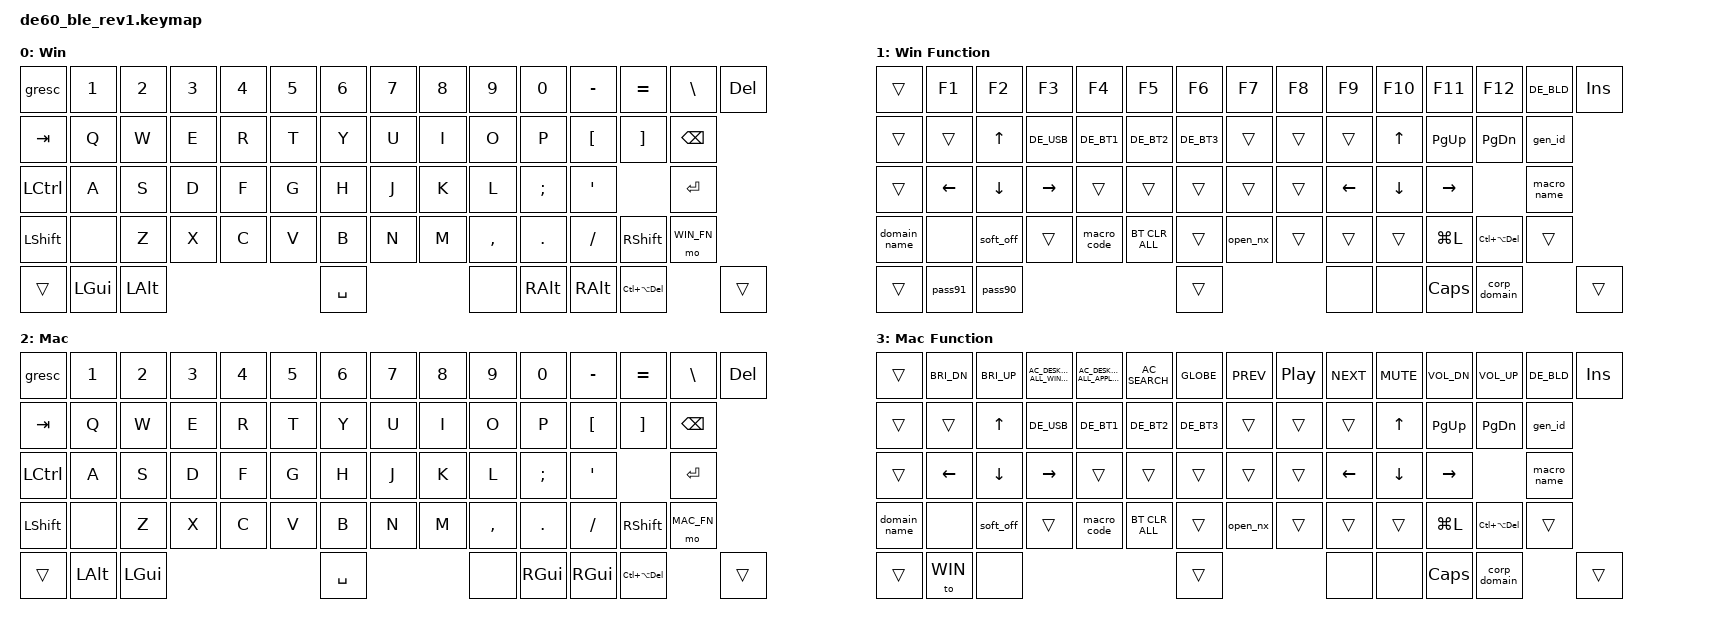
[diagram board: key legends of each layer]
/*
 * Copyright (c) 2026 DEKB
 * SPDX-License-Identifier: MIT
 */

#include "../common.keymap"

#define WIN 0
#define WIN_FN 1
#define MAC 2
#define MAC_FN 3

#define UF_RESET &DE_BLD
#define Device_USB &DE_USB
#define UF_BT1 &DE_BT1
#define UF_BT2 &DE_BT2
#define UF_BT3 &DE_BT3

/ {
    macros {
        domain_name: domain_name {
            compatible = "zmk,behavior-macro";
            #binding-cells = <0>;
            wait-ms = <10>;
            tap-ms = <10>;
            bindings = <&macro_tap &kp K &kp Y &kp N9 &kp N1 &kp DOT &kp H &kp A &kp I>;
        };

        gen_id: gen_id {
            compatible = "zmk,behavior-macro";
            #binding-cells = <0>;
            wait-ms = <10>;
            tap-ms = <10>;
            bindings = <&macro_tap &kp N1 &kp N5 &kp N7 &kp N9 &kp N8 &kp N6 &kp N7 &kp N5>;
        };

        macro_name: macro_name {
            compatible = "zmk,behavior-macro";
            #binding-cells = <0>;
            wait-ms = <15>;
            tap-ms = <15>;
            bindings = <&macro_tap &kp LS(N) &kp G &kp U &kp Y &kp E &kp E &kp N &kp X &kp SPACE &kp LS(H) &kp A &kp I &kp R &kp SPACE &kp LS(K) &kp Y &kp R>;
        };

        pass91: pass91 {
            compatible = "zmk,behavior-macro";
            #binding-cells = <0>;
            wait-ms = <10>;
            tap-ms = <10>;
            bindings = <&macro_tap &kp LS(H) &kp A &kp I &kp K &kp Y &kp N9 &kp N1 &kp N &kp A &kp EXCL>;
        };

        pass90: pass90 {
            compatible = "zmk,behavior-macro";
            #binding-cells = <0>;
            wait-ms = <10>;
            tap-ms = <10>;
            bindings = <&macro_tap &kp LS(H) &kp A &kp I &kp K &kp Y &kp N9 &kp N9 &kp N0 &kp N &kp A &kp EXCL>;
        };

        corp_domain: corp_domain {
            compatible = "zmk,behavior-macro";
            #binding-cells = <0>;
            wait-ms = <10>;
            tap-ms = <10>;
            bindings = <&macro_tap &kp C &kp O &kp R &kp P &kp BSLH &kp K &kp Y &kp N9 &kp N1 &kp DOT &kp H &kp A &kp I>;
        };

        macro_code: macro_code {
            compatible = "zmk,behavior-macro";
            #binding-cells = <0>;
            wait-ms = <10>;
            tap-ms = <10>;
            bindings = <&none>;
        };

        open_nx: open_nx {
            compatible = "zmk,behavior-macro";
            #binding-cells = <0>;
            wait-ms = <10>;
            tap-ms = <10>;
            bindings = <&open_zmks>;
        };
    };

    keymap {
        compatible = "zmk,keymap";

        default_layer {
            label = "Win";
            bindings = <
&gresc     &kp N1    &kp N2    &kp N3    &kp N4    &kp N5    &kp N6    &kp N7    &kp N8    &kp N9    &kp N0    &kp MINUS &kp EQUAL &kp BSLH  &kp DELETE
&kp TAB    &kp Q     &kp W     &kp E     &kp R     &kp T     &kp Y     &kp U     &kp I     &kp O     &kp P     &kp LBKT  &kp RBKT  &kp BSPC
&kp LCTRL  &kp A     &kp S     &kp D     &kp F     &kp G     &kp H     &kp J     &kp K     &kp L     &kp SEMI  &kp SQT             &kp RET
&kp LSHFT  &none     &kp Z     &kp X     &kp C     &kp V     &kp B     &kp N     &kp M     &kp COMMA &kp DOT   &kp FSLH  &kp RSHIFT &mo WIN_FN
&trans     &kp LGUI  &kp LALT                                &kp SPACE                     &none     &kp RALT  &kp RALT  &kp LC(LA(DEL)) &trans
            >;
        };

        win_function_layer {
            label = "Win Function";
            bindings = <
&trans        &kp F1    &kp F2    &kp F3      &kp F4   &kp F5   &kp F6   &kp F7  &kp F8   &kp F9    &kp F10   &kp F11       &kp F12        &DE_BLD      &kp INSERT
&trans        &trans    &kp UP    &DE_USB     &DE_BT1  &DE_BT2  &DE_BT3  &trans  &trans   &trans    &kp UP    &kp PAGE_UP   &kp PAGE_DOWN  &gen_id 
&trans        &kp LEFT  &kp DOWN  &kp RIGHT   &trans   &trans   &trans   &trans  &trans   &kp LEFT  &kp DOWN  &kp RIGHT     &macro_name
&domain_name  &none     &soft_off &trans      &macro_code &bt BT_CLR_ALL &trans &open_nx &trans &trans &trans   &kp LG(L)     &kp LC(LA(DEL)) &trans
&trans        &pass91   &pass90                                &trans                            &none     &none     &kp CLCK  &corp_domain &trans
            >;
        };

        mac_layer {
            label = "Mac";
            bindings = <
&gresc     &kp N1    &kp N2    &kp N3    &kp N4    &kp N5    &kp N6    &kp N7    &kp N8    &kp N9    &kp N0    &kp MINUS &kp EQUAL &kp BSLH  &kp DELETE
&kp TAB    &kp Q     &kp W     &kp E     &kp R     &kp T     &kp Y     &kp U     &kp I     &kp O     &kp P     &kp LBKT  &kp RBKT  &kp BSPC
&kp LCTRL  &kp A     &kp S     &kp D     &kp F     &kp G     &kp H     &kp J     &kp K     &kp L     &kp SEMI  &kp SQT             &kp RET
&kp LSHFT  &none     &kp Z     &kp X     &kp C     &kp V     &kp B     &kp N     &kp M     &kp COMMA &kp DOT   &kp FSLH  &kp RSHIFT &mo MAC_FN
&trans     &kp LALT  &kp LGUI                                &kp SPACE                     &none     &kp RGUI  &kp RGUI  &kp LC(LA(DEL)) &trans
            >;
        };

        mac_function_layer {
            label = "Mac Function";
            bindings = <
&trans        &kp C_BRI_DN &kp C_BRI_UP &kp C_AC_DESKTOP_SHOW_ALL_WINDOWS &kp C_AC_DESKTOP_SHOW_ALL_APPLICATIONS &kp C_AC_SEARCH &kp GLOBE &kp C_PREV &kp C_PP &kp C_NEXT &kp C_MUTE &kp C_VOL_DN &kp C_VOL_UP &DE_BLD &kp INSERT
&trans        &trans       &kp UP       &DE_USB      &DE_BT1   &DE_BT2  &DE_BT3  &trans  &trans   &trans    &kp UP    &kp PAGE_UP   &kp PAGE_DOWN  &gen_id 
&trans        &kp LEFT     &kp DOWN     &kp RIGHT    &trans    &trans   &trans   &trans  &trans   &kp LEFT  &kp DOWN  &kp RIGHT     &macro_name
&domain_name  &none        &soft_off    &trans       &macro_code &bt BT_CLR_ALL &trans &open_nx &trans &trans &trans   &kp LG(L)     &kp LC(LA(DEL)) &trans
&trans        &to WIN      &none                                       &trans                            &none     &none     &kp CLCK  &corp_domain &trans
            >;
        };

        layer_4 { status = "reserved"; };
        layer_5 { status = "reserved"; };

    };
};
